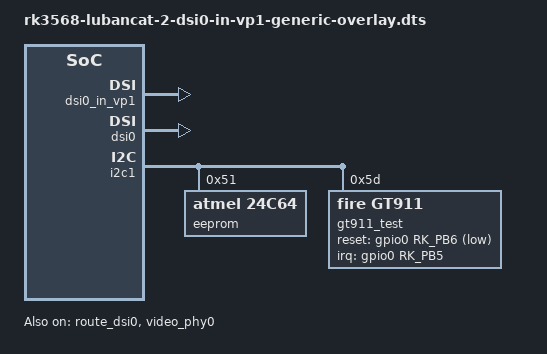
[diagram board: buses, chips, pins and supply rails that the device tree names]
/dts-v1/;
/plugin/;

#include <dt-bindings/gpio/gpio.h>
#include <dt-bindings/pinctrl/rockchip.h>
#include <dt-bindings/display/drm_mipi_dsi.h>
#include <dt-bindings/interrupt-controller/irq.h>

/ {

	fragment@0 {
		target = <&route_dsi0>;

		__overlay__ {
			status = "okay";
			connect = <&vp1_out_dsi0>;
		};
	};

	fragment@1 {
		target = <&video_phy0>;

		__overlay__ {
			status = "okay";
		};
	};

	fragment@2 {
		target = <&dsi0_in_vp0>;

		__overlay__ {
			status = "disabled";
		};
	};

	fragment@3 {
		target = <&dsi0_in_vp1>;

		__overlay__ {
			status = "okay";
		};
	};

	fragment@4 {
		target = <&dsi0>;

		__overlay__ {
			status = "okay";
		};
	};

	fragment@5 {
		target = <&dsi0_panel>;

		__overlay__ {
			status = "okay";

			enable-delay-ms = <35>;
			prepare-delay-ms = <6>;
			reset-delay-ms = <0>;
			init-delay-ms = <20>;
			unprepare-delay-ms = <0>;
			disable-delay-ms = <20>;

			size,width = <74>;
			size,height = <133>;

			dsi,flags = <(MIPI_DSI_MODE_VIDEO | MIPI_DSI_MODE_VIDEO_BURST | MIPI_DSI_MODE_LPM | MIPI_DSI_MODE_EOT_PACKET)>;
			dsi,format = <MIPI_DSI_FMT_RGB888>;
			dsi,lanes  = <4>;

			nvmem = <&eeprom0>;
			nvmem-names = "eeprom";
		};
	};

	fragment@6 {
		target = <&i2c1>;

		__overlay__ {
			status = "okay";
			#address-cells = <1>;
			#size-cells = <0>;

			eeprom0: eeprom@51 {
				compatible = "atmel,24c64";
				reg = <0x51>;
				label = "eeprom";
			};

			gt911_test: gt911-test@5d {		// 5.5寸和7寸MIPI屏幕触摸节点
				status = "okay";
				compatible = "fire,GT911";
				reg = <0x5d>;
				interrupt-parent = <&gpio0>;
				interrupts = <RK_PB5 IRQ_TYPE_EDGE_FALLING>;
				reset-gpios = <&gpio0 RK_PB6 GPIO_ACTIVE_LOW>;
				irq-gpios = <&gpio0 RK_PB5 GPIO_ACTIVE_HIGH>;
				pinctrl-names = "default";
				pinctrl-0 = <&gt9xx_pin>;
				touchscreen-inverted-x = <1>;
				touchscreen-inverted-y = <1>;
			};

			// gt928_test: gt928-test@5d {		// 10.1寸MIPI屏幕触摸节点
			// 	status = "okay";
			// 	compatible = "fire,GT928";
			// 	reg = <0x5d>;
			// 	interrupt-parent = <&gpio0>;
			// 	interrupts = <RK_PB5 IRQ_TYPE_EDGE_FALLING>;
			// 	reset-gpios = <&gpio0 RK_PB6 GPIO_ACTIVE_LOW>;
			// 	irq-gpios = <&gpio0 RK_PB5 GPIO_ACTIVE_HIGH>;
			// 	pinctrl-names = "default";
			// 	pinctrl-0 = <&gt9xx_pin>;
			// 	touchscreen-inverted-x = <1>;
			// 	touchscreen-swapped-x-y = <1>;
			// };
		};
	};

	fragment@7 {
		target = <&gt911_dsi0>;

		__overlay__ {
			status = "disabled";
			nvmem = <&eeprom0>;
			nvmem-names = "eeprom";
		};
	};

	fragment@8 {
		target = <&pinctrl>;

		__overlay__ {
			goodix {
				gt9xx_pin: gt9xx-pin {
					rockchip,pins =
						<0 RK_PB5 RK_FUNC_GPIO &pcfg_pull_up>,
						<0 RK_PB6 RK_FUNC_GPIO &pcfg_pull_up>;
				};
			};
		};
	};
};
